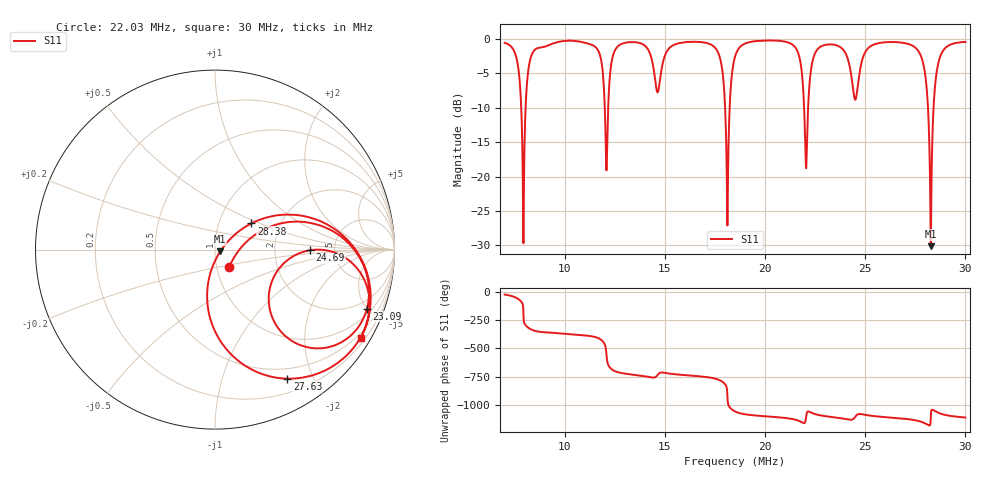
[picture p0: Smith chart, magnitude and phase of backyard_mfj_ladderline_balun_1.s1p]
! Touchstone file generated by AntScope2
# MHz Z RI R 50
! Format: Frequency Z-real Z-imaginary (normalized to 50 Ohm)
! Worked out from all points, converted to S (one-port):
!   2001 points, 7 MHz to 30 MHz, reference 50 ohm
!   lowest |S11| = -30.1 dB at 28.27 MHz (marker M1), VSWR 1.06, Z = 53 - j1.04 ohm
!   |S11| at or under -10 dB: 7.829 MHz to 8.047 MHz (217.8 kHz wide, 2.74 % of centre); 18.01 MHz to 18.23 MHz (226.5 kHz wide, 1.25 % of centre); 28.13 MHz to 28.41 MHz (278.4 kHz wide, 0.985 % of centre)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
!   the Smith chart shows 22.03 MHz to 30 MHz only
!   S11 on the Smith chart (normalised r, x): 22.03 MHz: 1.15, -0.23; 23.09 MHz: 1.33, -4.99; 24.69 MHz: 3.25, -0.03; 27.63 MHz: 0.37, -1.65; 28.38 MHz: 1.43, +0.44; 30 MHz: 0.35, -3.53
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7  0.8726 -4.854
7.6325  0.756 -1.603
7.9085  0.9182 -0.1614
8.3455  1.909 3.114
9.875  3.995 -13.41
11.7495  0.5708 -1.772
12.0485  0.7606 -0.1864
12.2785  1.226 1.568
12.75  10.32 9.877
14.1645  1.167 -3.267
14.59  2.006 -0.8668
15.625  4.107 -9.207
17.7065  0.5304 -1.648
18.1205  0.9202 0.0288
18.5  2.54 3.15
21.375  0.3306 -2.368
22.0305  1.146 -0.2296
22.4675  7.608 0.3298
23.0885  1.329 -4.989
24.25  1.049 -1.55
24.687  3.255 -0.0314
25.3655  2.063 -5.854
27.125  0.2748 -2.352
27.631  0.3676 -1.645
28.275  1.061 -0.0208
28.3785  1.426 0.443
28.735  6.232 1.554
30  0.3486 -3.528
